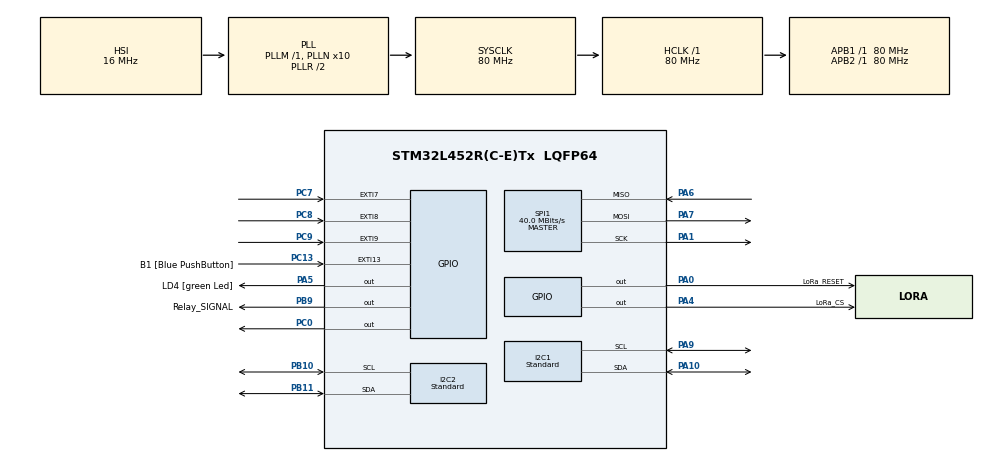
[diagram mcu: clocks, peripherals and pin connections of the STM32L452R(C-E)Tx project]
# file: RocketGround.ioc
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I2C1.I2C_Speed_Mode=I2C_Standard
I2C1.Timing=0x10909CEC
I2C2.I2C_Speed_Mode=I2C_Standard
I2C2.Timing=0x10909CEC
Mcu.Family=STM32L4
Mcu.Name=STM32L452R(C-E)Tx
Mcu.Package=LQFP64
NVIC.EXTI9_5_IRQn=true\:0\:0\:false\:false\:true\:true\:true\:true
NVIC.PriorityGroup=NVIC_PRIORITYGROUP_4
PA0.GPIO_Label=LoRa_RESET
PA0.Signal=GPIO_Output
PA1.Mode=Full_Duplex_Master
PA1.Signal=SPI1_SCK
PA10.Mode=I2C
PA10.Signal=I2C1_SDA
PA13\ (JTMS/SWDIO).GPIO_Label=TMS
PA13\ (JTMS/SWDIO).Mode=Serial_Wire
PA13\ (JTMS/SWDIO).Signal=SYS_JTMS-SWDIO
PA14\ (JTCK/SWCLK).GPIO_Label=TCK
PA14\ (JTCK/SWCLK).Mode=Serial_Wire
PA14\ (JTCK/SWCLK).Signal=SYS_JTCK-SWCLK
PA2.GPIO_Label=USART_TX
PA2.GPIO_Mode=GPIO_MODE_AF_PP
PA2.GPIO_PuPd=GPIO_NOPULL
PA2.GPIO_Speed=GPIO_SPEED_FREQ_VERY_HIGH
PA2.Signal=USART2_TX
PA3.GPIO_Label=USART_RX
PA3.GPIO_Mode=GPIO_MODE_AF_PP
PA3.GPIO_PuPd=GPIO_NOPULL
PA3.GPIO_Speed=GPIO_SPEED_FREQ_VERY_HIGH
PA3.Signal=USART2_RX
PA4.GPIO_Label=LoRa_CS
PA4.Signal=GPIO_Output
PA5.GPIO_Label=LD4 [green Led]
PA5.GPIO_ModeDefaultOutputPP=GPIO_MODE_OUTPUT_PP
PA5.GPIO_PuPd=GPIO_NOPULL
PA5.GPIO_Speed=GPIO_SPEED_FREQ_LOW
PA5.Signal=GPIO_Output
PA6.Mode=Full_Duplex_Master
PA6.Signal=SPI1_MISO
PA7.Mode=Full_Duplex_Master
PA7.Signal=SPI1_MOSI
PA9.Mode=I2C
PA9.Signal=I2C1_SCL
PB10.Mode=I2C
PB10.Signal=I2C2_SCL
PB11.Mode=I2C
PB11.Signal=I2C2_SDA
PB3\ (JTDO/TRACESWO).GPIO_Label=SWO
PB3\ (JTDO/TRACESWO).Signal=SYS_JTDO-SWO
PB9.GPIO_Label=Relay_SIGNAL
PB9.Signal=GPIO_Output
PC0.Signal=GPIO_Output
PC13.GPIO_Label=B1 [Blue PushButton]
PC13.GPIO_ModeDefaultEXTI=GPIO_MODE_IT_FALLING
PC13.GPIO_PuPd=GPIO_NOPULL
PC13.Signal=GPXTI13
PC14-OSC32_IN\ (PC14).Mode=LSE-External-Oscillator
PC14-OSC32_IN\ (PC14).Signal=RCC_OSC32_IN
PC15-OSC32_OUT\ (PC15).Mode=LSE-External-Oscillator
PC15-OSC32_OUT\ (PC15).Signal=RCC_OSC32_OUT
PC7.Signal=GPXTI7
PC8.Signal=GPXTI8
PC9.Signal=GPXTI9
PH0-OSC_IN\ (PH0).Signal=RCC_OSC_IN
PH1-OSC_OUT\ (PH1).Signal=RCC_OSC_OUT
ProjectManager.HeapSize=0x200
ProjectManager.StackSize=0x400
ProjectManager.TargetToolchain=STM32CubeIDE
RCC.ADCFreq_Value=64000000
RCC.AHBFreq_Value=80000000
RCC.APB1Freq_Value=80000000
RCC.APB1TimFreq_Value=80000000
RCC.APB2Freq_Value=80000000
RCC.APB2TimFreq_Value=80000000
RCC.CortexFreq_Value=80000000
RCC.HCLKFreq_Value=80000000
RCC.HSE_VALUE=8000000
RCC.HSI48_VALUE=48000000
RCC.HSI_VALUE=16000000
RCC.MSI_VALUE=4000000
RCC.PLLN=10
RCC.PLLSourceVirtual=RCC_PLLSOURCE_HSI
RCC.PREFETCH_ENABLE=1
RCC.SYSCLKFreq_VALUE=80000000
RCC.SYSCLKSource=RCC_SYSCLKSOURCE_PLLCLK
RCC.USBFreq_Value=64000000
RCC.VCOOutputFreq_Value=160000000
SPI1.CalculateBaudRate=40.0 MBits/s
SPI1.Direction=SPI_DIRECTION_2LINES
SPI1.Mode=SPI_MODE_MASTER
SPI1.VirtualType=VM_MASTER
board=NUCLEO-L452RE

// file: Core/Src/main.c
/* USER CODE BEGIN Header */
/**
  ******************************************************************************
  * @file           : main.c
  * @brief          : Main program body
  ******************************************************************************
  * @attention
  *
  * Copyright (c) 2022 STMicroelectronics.
  * All rights reserved.
  *
  * This software is licensed under terms that can be found in the LICENSE file
  * in the root directory of this software component.
  * If no LICENSE file comes with this software, it is provided AS-IS.
  *
  ******************************************************************************
  */
/* USER CODE END Header */
#include "main.h"
#include "i2c.h"
#include "spi.h"
#include "gpio.h"

/* USER CODE BEGIN Includes */
#include "LoRa.h"
#include "LCD.h"
#include "relay.h"
#include "bmp280.h"
#include "sysinit.h"
/* USER CODE END Includes */

/* USER CODE BEGIN PV */

float pressure, temperature, humidity;

uint16_t size;
uint8_t Data[256];

lora_sx1276 LoRa1278;

/* USER CODE END PV */

void SystemClock_Config(void);

int main(void)
{

  /* MCU Configuration--------------------------------------------------------*/

  /* Reset of all peripherals, Initializes the Flash interface and the Systick. */
  HAL_Init();

  /* Configure the system clock */
  SystemClock_Config();

  /* Initialize all configured peripherals */
  MX_GPIO_Init();
  MX_SPI1_Init();
  MX_I2C1_Init();
  MX_I2C2_Init();
  /* USER CODE BEGIN 2 */
  uint8_t res = lora_init(&LoRa1278, &hspi1, GPIOA, GPIO_PIN_4, LORA_BASE_FREQUENCY_EU);
  lcd_init();

  uint8_t data;
  HAL_StatusTypeDef status = HAL_I2C_Mem_Read(&hi2c1, BMP280_I2C_ADDRESS_0 << 1, 0xD0, 1, &data, 1, 5000);

  Clear_LCD();
  HAL_Delay(3000);
  /* USER CODE END 2 */

  /* Infinite loop */
  /* USER CODE BEGIN WHILE */
  while (1)
  {
	  uint8_t data;
	  status = HAL_I2C_Mem_Read(&hi2c1, BMP280_I2C_ADDRESS_0 << 1, 0xD0, 1, &data, 1, 5000);
	  HAL_Delay(500);
    /* USER CODE END WHILE */

  }
}

void SystemClock_Config(void)
{
  RCC_OscInitTypeDef RCC_OscInitStruct = {0};
  RCC_ClkInitTypeDef RCC_ClkInitStruct = {0};

  /** Configure the main internal regulator output voltage
  */
  if (HAL_PWREx_ControlVoltageScaling(PWR_REGULATOR_VOLTAGE_SCALE1) != HAL_OK)
  {
    Error_Handler();
  }

  /** Initializes the RCC Oscillators according to the specified parameters
  * in the RCC_OscInitTypeDef structure.
  */
  RCC_OscInitStruct.OscillatorType = RCC_OSCILLATORTYPE_HSI;
  RCC_OscInitStruct.HSIState = RCC_HSI_ON;
  RCC_OscInitStruct.HSICalibrationValue = RCC_HSICALIBRATION_DEFAULT;
  RCC_OscInitStruct.PLL.PLLState = RCC_PLL_ON;
  RCC_OscInitStruct.PLL.PLLSource = RCC_PLLSOURCE_HSI;
  RCC_OscInitStruct.PLL.PLLM = 1;
  RCC_OscInitStruct.PLL.PLLN = 10;
  RCC_OscInitStruct.PLL.PLLP = RCC_PLLP_DIV7;
  RCC_OscInitStruct.PLL.PLLQ = RCC_PLLQ_DIV2;
  RCC_OscInitStruct.PLL.PLLR = RCC_PLLR_DIV2;
  if (HAL_RCC_OscConfig(&RCC_OscInitStruct) != HAL_OK)
  {
    Error_Handler();
  }

  /** Initializes the CPU, AHB and APB buses clocks
  */
  RCC_ClkInitStruct.ClockType = RCC_CLOCKTYPE_HCLK|RCC_CLOCKTYPE_SYSCLK
                              |RCC_CLOCKTYPE_PCLK1|RCC_CLOCKTYPE_PCLK2;
  RCC_ClkInitStruct.SYSCLKSource = RCC_SYSCLKSOURCE_PLLCLK;
  RCC_ClkInitStruct.AHBCLKDivider = RCC_SYSCLK_DIV1;
  RCC_ClkInitStruct.APB1CLKDivider = RCC_HCLK_DIV1;
  RCC_ClkInitStruct.APB2CLKDivider = RCC_HCLK_DIV1;

  if (HAL_RCC_ClockConfig(&RCC_ClkInitStruct, FLASH_LATENCY_4) != HAL_OK)
  {
    Error_Handler();
  }
}

/* USER CODE BEGIN 4 */
void HAL_GPIO_EXTI_Callback(uint16_t GPIO_Pin)
{

}
/* USER CODE END 4 */

void Error_Handler(void)
{
  /* USER CODE BEGIN Error_Handler_Debug */
  /* User can add his own implementation to report the HAL error return state */
  __disable_irq();
  while (1)
  {
	  HAL_GPIO_WritePin(GPIOA, GPIO_PIN_5, GPIO_PIN_SET);
	  HAL_Delay(200);
	  HAL_GPIO_WritePin(GPIOA, GPIO_PIN_5, GPIO_PIN_RESET);
	  HAL_Delay(200);
  }
  /* USER CODE END Error_Handler_Debug */
}
